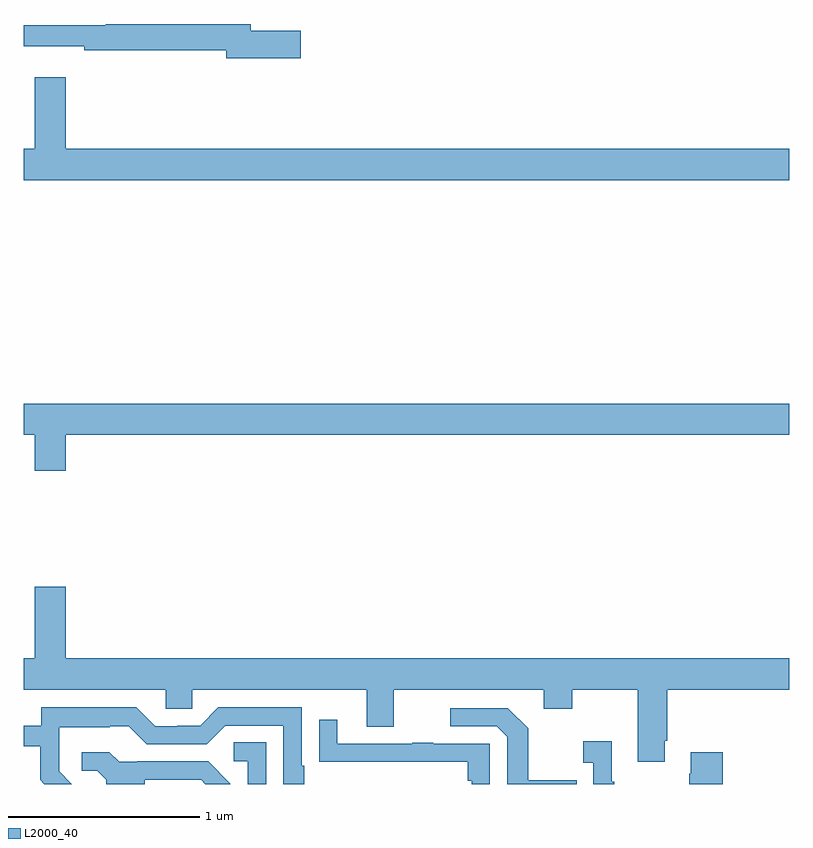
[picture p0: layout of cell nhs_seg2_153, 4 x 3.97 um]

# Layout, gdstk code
import gdstk
lib = gdstk.Library(unit=1e-6, precision=1e-09)
def P(c, l, *ps):  # polygons
    for p in ps: c.add(gdstk.Polygon(p, *l))
L2000_40 = (2000, 40)

nhs_seg2_153 = lib.new_cell('nhs_seg2_153')
P(nhs_seg2_153, L2000_40, [(118.447,661.736),(118.186,661.736),(118.186,661.772),(117.427,661.772),(117.427,661.765),(117,661.765),(117,661.655),(117.316,661.655),(117.316,661.636),(118.058,661.636),(118.058,661.594),(118.447,661.594)],
  [(121,661.12),(117.22,661.12),(117.22,661.495),(117.056,661.495),(117.056,661.12),(117,661.12),(117,660.956),(121,660.956)],
  [(117.22,659.624),(121,659.624),(121,659.788),(117,659.788),(117,659.624),(117.056,659.624),(117.056,659.436),(117.22,659.436)],
  [(120.349,658.027),(120.362,658.027),(120.362,658.292),(121,658.292),(121,658.456),(117.22,658.456),(117.22,658.831),(117.056,658.831),(117.056,658.456),(117,658.456),(117,658.292),(117.741,658.292),(117.741,658.194),(117.879,658.194),(117.879,658.292),(118.793,658.292),(118.793,658.098),(118.933,658.098),(118.933,658.292),(119.717,658.292),(119.717,658.193),(119.865,658.193),(119.865,658.292),(120.209,658.292),(120.209,657.915),(120.349,657.915)],
  [(117.184,657.866),(117.184,657.963),(117.186,657.963),(117.186,658.097),(117.449,658.097),(117.449,658.101),(117.549,658.101),(117.642,658.008),(117.957,658.008),(118.053,658.104),(118.356,658.104),(118.356,657.8),(118.465,657.8),(118.465,657.895),(118.452,657.895),(118.452,658.2),(118.017,658.2),(117.921,658.104),(117.803,658.104),(117.803,658.101),(117.687,658.101),(117.587,658.201),(117.09,658.201),(117.09,658.104),(117,658.104),(117,657.996),(117.085,657.996),(117.085,657.821),(117.106,657.8),(117.25,657.8)],
  [(119.891,657.819),(119.635,657.819),(119.635,658.091),(119.529,658.197),(119.229,658.197),(119.229,658.101),(119.472,658.101),(119.526,658.047),(119.526,657.8),(119.891,657.8)],
  [(119.436,658.011),(119.141,658.011),(119.141,658.016),(119.029,658.016),(119.029,658.011),(118.639,658.011),(118.639,658.135),(118.543,658.135),(118.543,657.916),(118.645,657.916),(118.645,657.915),(119.32,657.915),(119.32,657.818),(119.34,657.818),(119.34,657.8),(119.436,657.8)],
  [(120.085,657.811),(120.073,657.811),(120.073,658.024),(119.925,658.024),(119.925,657.911),(119.976,657.911),(119.976,657.8),(120.085,657.8)],
  [(118.266,658.019),(118.098,658.019),(118.098,657.918),(118.17,657.918),(118.17,657.8),(118.266,657.8)],
  [(120.653,657.967),(120.485,657.967),(120.485,657.854),(120.478,657.854),(120.478,657.8),(120.653,657.8)],
  [(117.631,657.822),(117.926,657.822),(117.948,657.8),(118.08,657.8),(118.08,657.802),(117.964,657.918),(117.592,657.918),(117.592,657.915),(117.498,657.915),(117.446,657.967),(117.303,657.967),(117.303,657.87),(117.384,657.87),(117.431,657.823),(117.431,657.8),(117.631,657.8)])

lib.write_gds('nhs_seg2_153.gds')
